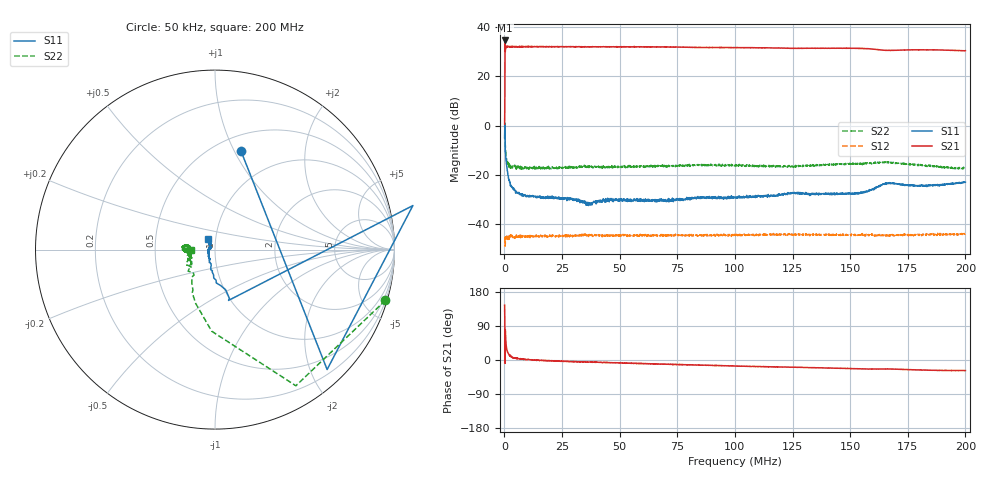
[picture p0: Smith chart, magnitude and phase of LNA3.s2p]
! 19-Feb-26 2:49:09 PM
! E:\VNA_MEASUREMENTS\RECBLOCK\LNA3.S2P
! CHANNEL.1
! TR.MEASUREMENT
! CORRECTED.DATA
# GHZ S RI R 50.0
! FREQ.GHZ  S11RE  S11IM  S21RE  S21IM  S12RE  S12IM  S22RE  S22IM
!; PortSelection: Port_12
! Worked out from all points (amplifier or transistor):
!   2000 points, 50 kHz to 200 MHz, reference 50 ohm
!   highest |S21| = 34.7 dB at 250 kHz (marker M1)
!   |S21| within 3 dB of that: 515.6 kHz to 106.8 MHz (106.3 MHz wide, 198 % of centre)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
!   unconditionally stable (mu >= 1): start of sweep to 64.91 kHz; 317.6 kHz to end of sweep
!   at 33.36 MHz: K = 2.14, MAG = 32.1 dB, |S12| = -44.3 dB
!   at 100.1 MHz: K = 2.26, MAG = 31.9 dB, |S12| = -44.7 dB
!   at 200 MHz: K = 2.42, MAG = 30.6 dB, |S12| = -44.1 dB
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5e-05  0.1448 0.5494  -0.8766 0.624  -0.00493 0.00234  0.9495 -0.2828
0.00025005  1.103 0.2454  53.4 -8.356  -0.00266 0.00232  -0.0184 -0.4548
0.000750175  0.00732 -0.1858  30.56 23.51  0.00385 0.00283  -0.1281 -0.1919
0.0012503  -0.0145 -0.1181  37.57 15.34  0.00477 0.00226  -0.1416 -0.1014
0.001350325  -0.0234 -0.1117  38.84 14.59  0.00502 0.00186  -0.1318 -0.0977
0.001550375  -0.0229 -0.0946  38.31 12.44  0.00445 0.00185  -0.1576 -0.0864
0.00185045  -0.0216 -0.0794  39.55 10.79  0.00535 0.00114  -0.1326 -0.0788
0.002750675  -0.0315 -0.0522  40.17 5.938  0.00538 0.00153  -0.1382 -0.0398
0.0036509  -0.0319 -0.0402  40.61 4.337  0.00524 0.00098  -0.1422 -0.0315
0.004451101  -0.0358 -0.0326  40 3.298  0.00508 0.000517  -0.1534 -0.0332
0.009152276  -0.0352 -0.0118  40.77 1.263  0.00571 0.000463  -0.1318 -0.0157
0.01785445  -0.0352 -9e-05  40.53 -0.898  0.00544 -1.5e-06  -0.1433 -0.00735
0.03345835  -0.0274 0.0107  40.25 -3.423  0.00612 0.000253  -0.149 -0.0203
0.06676668  -0.0252 0.0155  39.12 -7.374  0.00577 -0.000403  -0.1489 -0.0152
0.100075  -0.0267 0.0223  37.3 -10.72  0.00583 -0.000474  -0.1531 0.000943
0.1245811  -0.031 0.0295  35.44 -12.05  0.00611 -0.000985  -0.1502 -0.00665
0.1333833  -0.0287 0.0303  35.35 -12.96  0.00601 -0.00099  -0.1562 -0.0118
0.1543886  -0.0259 0.0338  34.31 -14.7  0.0059 -0.00138  -0.1649 -0.0046
0.1666917  -0.0448 0.0496  31.21 -13.64  0.00571 -0.00128  -0.1758 0.014
0.1767942  -0.0383 0.0496  31.41 -15.11  0.00569 -0.00126  -0.1634 0.0244
0.1872968  -0.0355 0.0514  30.88 -15.74  0.00587 -0.00151  -0.1482 0.0195
0.2  -0.0371 0.0598  29.63 -15.64  0.00605 -0.0016  -0.1357 -0.00273
